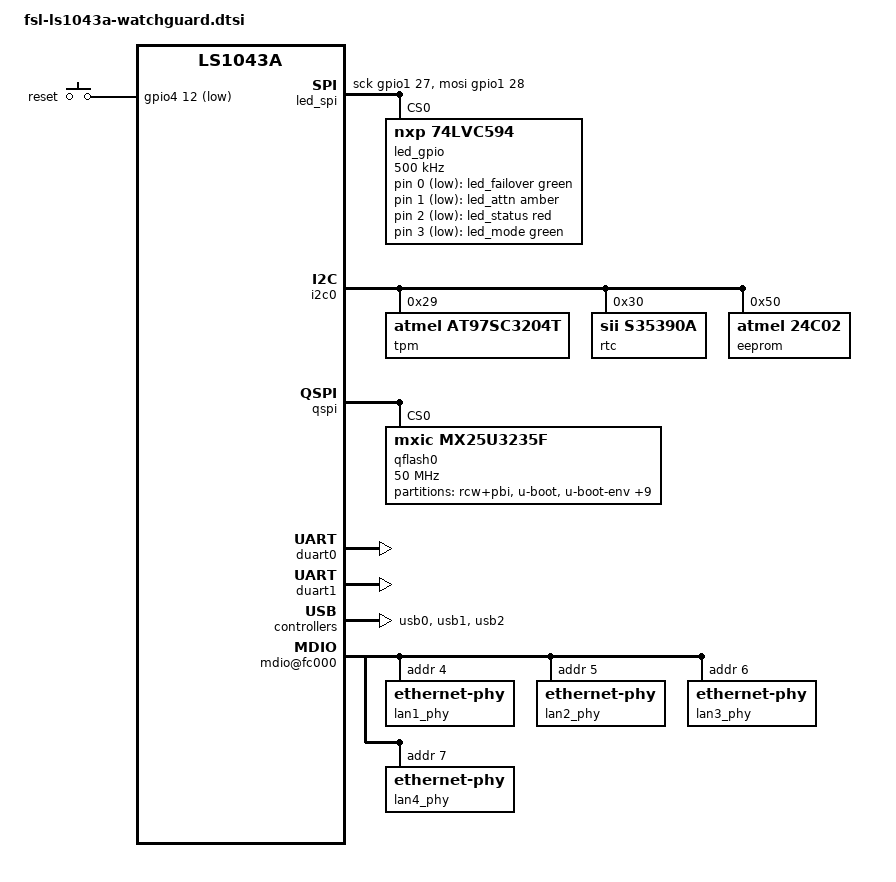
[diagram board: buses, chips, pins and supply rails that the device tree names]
// SPDX-License-Identifier: (GPL-2.0+ OR MIT)
// https://github.com/neggles/openwrt/commit/0e2ba8ef96acc7a6c7fcb57319e89563decea333#diff-73fafdd684ce62f3c48c572d7966775d7a9ef262213ecfea4bd6b75c58bc678c

/dts-v1/;
#include "fsl-ls1043a.dtsi"
#include <dt-bindings/gpio/gpio.h>
#include <dt-bindings/input/input.h>
#include <dt-bindings/leds/common.h>

/ {
	aliases {
		crypto = &crypto;
		serial0 = &duart0;
		serial1 = &duart1;
		serial2 = &duart2;
		serial3 = &duart3;
		led-boot = &led_mode;
		led-failsafe = &led_status;
		led-running = &led_mode;
		led-upgrade = &led_attn;
	};

	chosen {
		stdout-path = "serial0:115200n8";
	};

	keys {
		compatible = "gpio-keys";
		#address-cells = <1>;
		#size-cells = <0>;

		reset-button {
			label = "reset";
			gpios = <&gpio4 12 GPIO_ACTIVE_LOW>;
			debounce-interval = <50>;
			linux,code = <KEY_RESTART>;
		};
	};

	led_spi {
		compatible = "spi-gpio";
		#address-cells = <1>;
		#size-cells = <0>;

		sck-gpios = <&gpio1 27 GPIO_ACTIVE_HIGH>;
		mosi-gpios = <&gpio1 28 GPIO_ACTIVE_HIGH>;
		num-chipselects = <0>;

		led_gpio: led_gpio@0 {
			compatible = "nxp,74lvc594";
			reg = <0>;
			gpio-controller;
			#gpio-cells = <2>;
			registers-number = <1>;
			spi-max-frequency = <500000>;
		};
	};

	leds {
		compatible = "gpio-leds";

		led_failover: led-0 {
			color = <LED_COLOR_ID_GREEN>;
			function = LED_FUNCTION_INDICATOR;
			gpios = <&led_gpio 0 GPIO_ACTIVE_LOW>;
		};

		led_attn: led-1 {
			color = <LED_COLOR_ID_AMBER>;
			function = LED_FUNCTION_FAULT;
			gpios = <&led_gpio 1 GPIO_ACTIVE_LOW>;
			panic-indicator;
		};

		led_status: led-2 {
			color = <LED_COLOR_ID_RED>;
			function = LED_FUNCTION_STATUS;
			gpios = <&led_gpio 2 GPIO_ACTIVE_LOW>;
		};

		led_mode: led-3 {
			color = <LED_COLOR_ID_GREEN>;
			function = LED_FUNCTION_BOOT;
			gpios = <&led_gpio 3 GPIO_ACTIVE_LOW>;
		};
	};
};

&i2c0 {
	status = "okay";

	tpm@29 {
		reg = <0x29>;
		label = "tpm";
		compatible = "atmel,at97sc3204t";
	};

	rtc@30 {
		reg = <0x30>;
		compatible = "sii,s35390a";
	};

	eeprom@50 {
		reg = <0x50>;
		compatible = "atmel,24c02";
		pagesize = <1>;
	};
};

&qspi {
	status = "okay";
	bus-num = <0>;
	big-endian;

	qflash0: flash@0 {
		compatible = "mxic,mx25u3235f", "jedec,spi-nor";
		#address-cells = <1>;
		#size-cells = <1>;
		spi-max-frequency = <50000000>;
		spi-rx-bus-width = <4>;
		spi-tx-bus-width = <4>;
		reg = <0>;

		partitions {
			compatible = "fixed-partitions";
			#address-cells = <1>;
			#size-cells = <1>;

			partition@0 {
				reg = <0x00 0x100000>;
				label = "rcw+pbi";
				read-only;
			};

			partition@100000 {
				reg = <0x100000 0x100000>;
				label = "u-boot";
				read-only;
			};

			partition@200000 {
				reg = <0x200000 0x10000>;
				label = "u-boot-env";
			};

			partition@210000 {
				reg = <0x210000 0x10000>;
				label = "empty-1";
				read-only;
			};

			partition@220000 {
				reg = <0x220000 0x20000>;
				label = "fman ucode";
				read-only;
			};

			partition@240000 {
				reg = <0x240000 0x40000>;
				label = "empty-2-ppa";
				read-only;
			};

			partition@280000 {
				reg = <0x280000 0x20000>;
				label = "wg-cfg0";
				read-only;
			};

			partition@2a0000 {
				reg = <0x2a0000 0x20000>;
				label = "wg-cfg1";
				read-only;
			};

			partition@2c0000 {
				reg = <0x2c0000 0x20000>;
				label = "wg-mfg";
				read-only;
			};

			partition@2e0000 {
				reg = <0x2e0000 0x20000>;
				label = "empty-3";
				read-only;
			};

			partition@300000 {
				reg = <0x300000 0x20000>;
				label = "fman-ucode-old";
				read-only;
			};

			partition@320000 {
				reg = <0x320000 0xe0000>;
				label = "wg-bootopt";
				read-only;
			};
		};
	};
};

&duart0 {
	status = "okay";
};

&duart1 {
	status = "okay";
};

&usb0 {
	status = "okay";
	snps,dis-u1u2-when-u3-quirk;
	snps,host-vbus-glitches;
};

&usb1 {
	status = "okay";
	snps,dis-u1u2-when-u3-quirk;
	snps,host-vbus-glitches;
};

&usb2 {
	status = "okay";
	snps,dis-u1u2-when-u3-quirk;
	snps,host-vbus-glitches;
};

#include "fsl-ls1043-post.dtsi"

&fman0 {
	ethernet@e0000 { /* LAN1 */
		phy-handle = <&lan1_phy>;
		phy-connection-type = "qsgmii";
		label = "lan1";
	};

	ethernet@e2000 { /* LAN2 */
		phy-handle = <&lan2_phy>;
		phy-connection-type = "qsgmii";
		label = "lan2";
	};

	ethernet@e4000 { /* WAN */
		phy-handle = <&wan1_phy>;
		pcsphy-handle = <&wan1_phy>;
		phy-connection-type = "rgmii-id";
		phy-mode = "rgmii-id";
		label = "wan";
	};

	ethernet@e6000 {
		status = "disabled";
	};

	ethernet@e8000 { /* LAN3 */
		phy-handle = <&lan3_phy>;
		phy-connection-type = "qsgmii";
		label = "lan3";
	};

	ethernet@ea000 { /* LAN4 */
		phy-handle = <&lan4_phy>;
		phy-connection-type = "qsgmii";
		label = "lan4";
	};

	ethernet@f0000 {
		status = "disabled";
	};

	ethernet@f2000 {
		status = "disabled";
	};

	mdio@fc000 {
		lan1_phy: ethernet-phy@4 {
			reg = <0x4>;
		};

		lan2_phy: ethernet-phy@5 {
			reg = <0x5>;
		};

		lan3_phy: ethernet-phy@6 {
			reg = <0x6>;
		};

		lan4_phy: ethernet-phy@7 {
			reg = <0x7>;
		};
	};
};

&uqe {
	ucc_hdlc: ucc@2000 {
		compatible = "fsl,ucc-hdlc";
		rx-clock-name = "clk8";
		tx-clock-name = "clk9";
		fsl,rx-sync-clock = "rsync_pin";
		fsl,tx-sync-clock = "tsync_pin";
		fsl,tx-timeslot-mask = <0xfffffffe>;
		fsl,rx-timeslot-mask = <0xfffffffe>;
		fsl,tdm-framer-type = "e1";
		fsl,tdm-id = <0>;
		fsl,siram-entry-id = <0>;
		fsl,tdm-interface;
	};
};

// WG T40 does not support secure boot, so remove OP-TEE
// not doing this will cause kernel panic at boot
/delete-node/ &{/firmware/optee};

// for some reason, usb enumeration stops working if 
// soc is marked dma-coherent
&soc {
    /delete-property/ dma-coherent;
};
